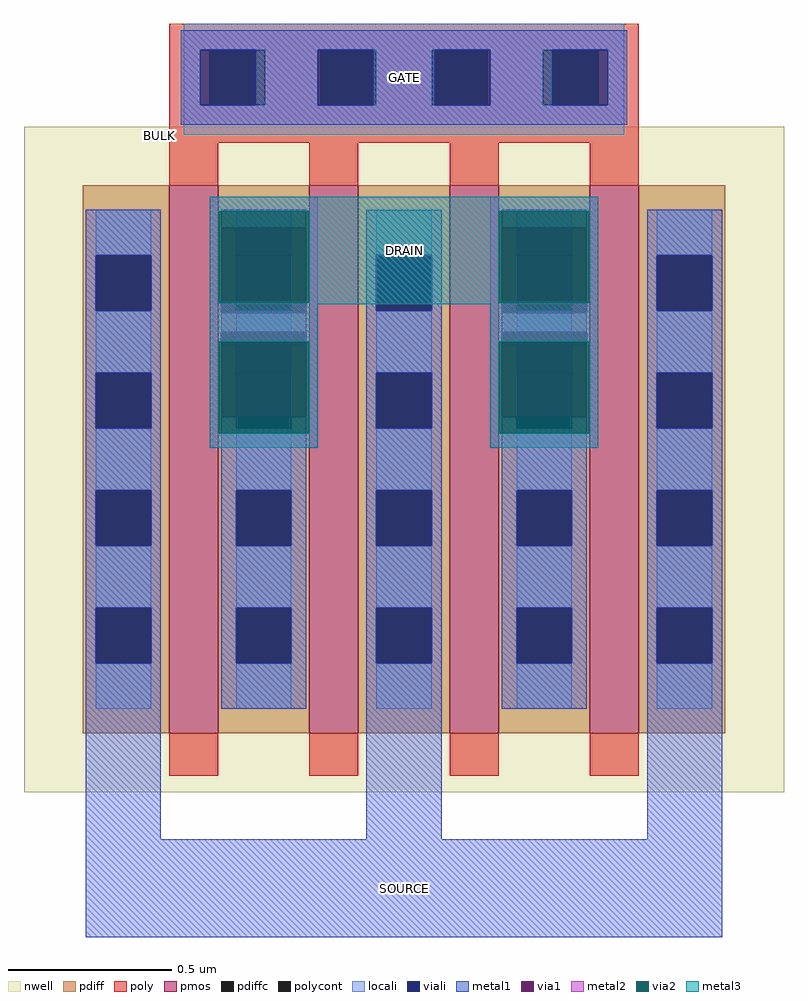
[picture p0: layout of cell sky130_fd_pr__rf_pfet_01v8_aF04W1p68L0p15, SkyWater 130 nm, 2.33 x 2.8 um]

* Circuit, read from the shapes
.subckt sky130_fd_pr__rf_pfet_01v8_aF04W1p68L0p15 BULK DRAIN GATE SOURCE
XM1 DRAIN GATE SOURCE BULK sky130_fd_pr__pfet_01v8 w=1.68 l=0.15 m=4
.ends

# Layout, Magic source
magic
tech sky130A
magscale 1 2
<< nwell >>
rect 0 0 466 408
<< pmos >>
rect 89 36 119 372
rect 175 36 205 372
rect 261 36 291 372
rect 347 36 377 372
<< pdiff >>
rect 36 329 89 372
rect 36 295 44 329
rect 78 295 89 329
rect 36 257 89 295
rect 36 223 44 257
rect 78 223 89 257
rect 36 185 89 223
rect 36 151 44 185
rect 78 151 89 185
rect 36 113 89 151
rect 36 79 44 113
rect 78 79 89 113
rect 36 36 89 79
rect 119 329 175 372
rect 119 295 130 329
rect 164 295 175 329
rect 119 257 175 295
rect 119 223 130 257
rect 164 223 175 257
rect 119 185 175 223
rect 119 151 130 185
rect 164 151 175 185
rect 119 113 175 151
rect 119 79 130 113
rect 164 79 175 113
rect 119 36 175 79
rect 205 329 261 372
rect 205 295 216 329
rect 250 295 261 329
rect 205 257 261 295
rect 205 223 216 257
rect 250 223 261 257
rect 205 185 261 223
rect 205 151 216 185
rect 250 151 261 185
rect 205 113 261 151
rect 205 79 216 113
rect 250 79 261 113
rect 205 36 261 79
rect 291 329 347 372
rect 291 295 302 329
rect 336 295 347 329
rect 291 257 347 295
rect 291 223 302 257
rect 336 223 347 257
rect 291 185 347 223
rect 291 151 302 185
rect 336 151 347 185
rect 291 113 347 151
rect 291 79 302 113
rect 336 79 347 113
rect 291 36 347 79
rect 377 329 430 372
rect 377 295 388 329
rect 422 295 430 329
rect 377 257 430 295
rect 377 223 388 257
rect 422 223 430 257
rect 377 185 430 223
rect 377 151 388 185
rect 422 151 430 185
rect 377 113 430 151
rect 377 79 388 113
rect 422 79 430 113
rect 377 36 430 79
<< pdiffc >>
rect 44 295 78 329
rect 44 223 78 257
rect 44 151 78 185
rect 44 79 78 113
rect 130 295 164 329
rect 130 223 164 257
rect 130 151 164 185
rect 130 79 164 113
rect 216 295 250 329
rect 216 223 250 257
rect 216 151 250 185
rect 216 79 250 113
rect 302 295 336 329
rect 302 223 336 257
rect 302 151 336 185
rect 302 79 336 113
rect 388 295 422 329
rect 388 223 422 257
rect 388 151 422 185
rect 388 79 422 113
<< poly >>
rect 89 455 377 471
rect 89 421 114 455
rect 148 421 182 455
rect 216 421 250 455
rect 284 421 318 455
rect 352 421 377 455
rect 89 398 377 421
rect 89 372 119 398
rect 175 372 205 398
rect 261 372 291 398
rect 347 372 377 398
rect 89 10 119 36
rect 175 10 205 36
rect 261 10 291 36
rect 347 10 377 36
<< polycont >>
rect 114 421 148 455
rect 182 421 216 455
rect 250 421 284 455
rect 318 421 352 455
<< locali >>
rect 98 455 368 471
rect 98 421 108 455
rect 148 421 180 455
rect 216 421 250 455
rect 286 421 318 455
rect 358 421 368 455
rect 98 403 368 421
rect 44 329 78 357
rect 44 257 78 295
rect 44 185 78 223
rect 44 113 78 151
rect 44 51 78 79
rect 130 329 164 357
rect 130 257 164 295
rect 130 185 164 223
rect 130 113 164 151
rect 130 51 164 79
rect 216 329 250 357
rect 216 257 250 295
rect 216 185 250 223
rect 216 113 250 151
rect 216 51 250 79
rect 302 329 336 357
rect 302 257 336 295
rect 302 185 336 223
rect 302 113 336 151
rect 302 51 336 79
rect 388 329 422 357
rect 388 257 422 295
rect 388 185 422 223
rect 388 113 422 151
rect 388 51 422 79
<< viali >>
rect 108 421 114 455
rect 114 421 142 455
rect 180 421 182 455
rect 182 421 214 455
rect 252 421 284 455
rect 284 421 286 455
rect 324 421 352 455
rect 352 421 358 455
rect 44 295 78 329
rect 44 223 78 257
rect 44 151 78 185
rect 44 79 78 113
rect 130 295 164 329
rect 130 223 164 257
rect 130 151 164 185
rect 130 79 164 113
rect 216 295 250 329
rect 216 223 250 257
rect 216 151 250 185
rect 216 79 250 113
rect 302 295 336 329
rect 302 223 336 257
rect 302 151 336 185
rect 302 79 336 113
rect 388 295 422 329
rect 388 223 422 257
rect 388 151 422 185
rect 388 79 422 113
<< metal1 >>
rect 96 455 370 467
rect 96 421 108 455
rect 142 421 180 455
rect 214 421 252 455
rect 286 421 324 455
rect 358 421 370 455
rect 96 409 370 421
rect 38 329 84 357
rect 38 295 44 329
rect 78 295 84 329
rect 38 257 84 295
rect 38 223 44 257
rect 78 223 84 257
rect 38 185 84 223
rect 38 151 44 185
rect 78 151 84 185
rect 38 113 84 151
rect 38 79 44 113
rect 78 79 84 113
rect 38 -29 84 79
rect 121 346 173 357
rect 121 282 173 294
rect 121 223 130 230
rect 164 223 173 230
rect 121 185 173 223
rect 121 151 130 185
rect 164 151 173 185
rect 121 113 173 151
rect 121 79 130 113
rect 164 79 173 113
rect 121 51 173 79
rect 210 329 256 357
rect 210 295 216 329
rect 250 295 256 329
rect 210 257 256 295
rect 210 223 216 257
rect 250 223 256 257
rect 210 185 256 223
rect 210 151 216 185
rect 250 151 256 185
rect 210 113 256 151
rect 210 79 216 113
rect 250 79 256 113
rect 210 -29 256 79
rect 293 346 345 357
rect 293 282 345 294
rect 293 223 302 230
rect 336 223 345 230
rect 293 185 345 223
rect 293 151 302 185
rect 336 151 345 185
rect 293 113 345 151
rect 293 79 302 113
rect 336 79 345 113
rect 293 51 345 79
rect 382 329 428 357
rect 382 295 388 329
rect 422 295 428 329
rect 382 257 428 295
rect 382 223 388 257
rect 422 223 428 257
rect 382 185 428 223
rect 382 151 388 185
rect 422 151 428 185
rect 382 113 428 151
rect 382 79 388 113
rect 422 79 428 113
rect 382 -29 428 79
rect 38 -89 428 -29
<< via1 >>
rect 121 329 173 346
rect 121 295 130 329
rect 130 295 164 329
rect 164 295 173 329
rect 121 294 173 295
rect 121 257 173 282
rect 121 230 130 257
rect 130 230 164 257
rect 164 230 173 257
rect 293 329 345 346
rect 293 295 302 329
rect 302 295 336 329
rect 336 295 345 329
rect 293 294 345 295
rect 293 257 345 282
rect 293 230 302 257
rect 302 230 336 257
rect 336 230 345 257
<< metal2 >>
rect 114 356 180 365
rect 114 300 119 356
rect 175 300 180 356
rect 114 294 121 300
rect 173 294 180 300
rect 114 282 180 294
rect 114 276 121 282
rect 173 276 180 282
rect 114 220 119 276
rect 175 220 180 276
rect 114 211 180 220
rect 286 356 352 365
rect 286 300 291 356
rect 347 300 352 356
rect 286 294 293 300
rect 345 294 352 300
rect 286 282 352 294
rect 286 276 293 282
rect 345 276 352 282
rect 286 220 291 276
rect 347 220 352 276
rect 286 211 352 220
<< via2 >>
rect 119 346 175 356
rect 119 300 121 346
rect 121 300 173 346
rect 173 300 175 346
rect 119 230 121 276
rect 121 230 173 276
rect 173 230 175 276
rect 119 220 175 230
rect 291 346 347 356
rect 291 300 293 346
rect 293 300 345 346
rect 345 300 347 346
rect 291 230 293 276
rect 293 230 345 276
rect 345 230 347 276
rect 291 220 347 230
<< metal3 >>
rect 114 356 352 365
rect 114 300 119 356
rect 175 300 291 356
rect 347 300 352 356
rect 114 299 352 300
rect 114 276 180 299
rect 114 220 119 276
rect 175 220 180 276
rect 114 211 180 220
rect 286 276 352 299
rect 286 220 291 276
rect 347 220 352 276
rect 286 211 352 220
<< labels >>
flabel metal3 s 114 299 352 365 0 FreeSans 400 0 0 0 DRAIN
port 2 nsew
flabel metal1 s 96 409 370 467 0 FreeSans 400 0 0 0 GATE
port 3 nsew
flabel metal1 s 38 -89 428 -29 0 FreeSans 400 0 0 0 SOURCE
port 4 nsew
flabel nwell s 80 399 86 406 0 FreeSans 400 0 0 0 BULK
port 1 nsew
<< properties >>
string GDS_FILE $PDKPATH/libs.ref/sky130_fd_pr/gds/sky130_fd_pr.gds
string GDS_END 9237752
string GDS_START 9229448
string path 7.975 8.925 7.975 1.275 
<< end >>
